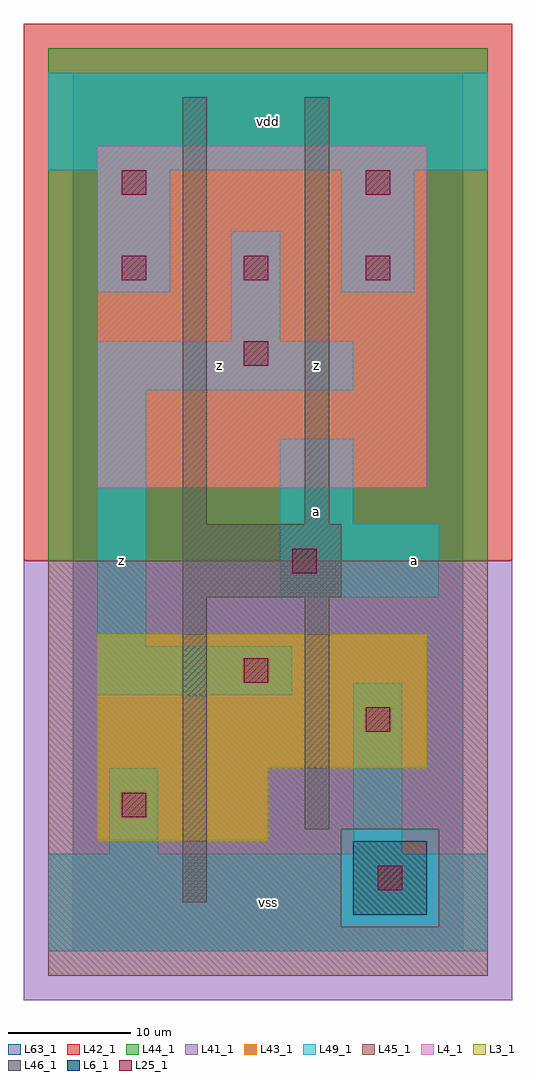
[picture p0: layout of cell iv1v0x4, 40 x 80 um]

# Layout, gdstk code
import gdstk
lib = gdstk.Library(unit=1e-6, precision=1e-09)
def R(c, l, rs):  # rectangles x0, y0, x1, y1
    for r in rs: c.add(gdstk.rectangle(r[:2], r[2:], *l))
def A(c, l, x, y, w, h, nx, ny, dx, dy):  # array of equal rectangles
    R(c, l, [(x+i*dx, y+j*dy, x+i*dx+w, y+j*dy+h) for i in range(nx) for j in range(ny)])
L3_1 = (3, 1)
L4_1 = (4, 1)
L6_1 = (6, 1)
L25_1 = (25, 1)
L41_1 = (41, 1)
L42_1 = (42, 1)
L43_1 = (43, 1)
L44_1 = (44, 1)
L45_1 = (45, 1)
L46_1 = (46, 1)
L49_1 = (49, 1)
L63_1 = (63, 1)

iv1v0x4 = lib.new_cell('iv1v0x4')
R(iv1v0x4, L3_1, [(2,9,16,15), (2,15,29,26)])
R(iv1v0x4, L4_1, [(2,38,29,66)])
R(iv1v0x4, L6_1, [(23,3,29,9), (23,3,29,9)])
A(iv1v0x4, L25_1, 4, 55, 2, 2, 3, 1, 10, 0)
R(iv1v0x4, L25_1, [(25,5,27,7), (4,11,6,13), (24,18,26,20), (14,22,16,24), (18,31,20,33), (14,48,16,50), (4,62,6,64), (24,62,26,64)])
R(iv1v0x4, L41_1, [(-4,-4,36,32)])
R(iv1v0x4, L42_1, [(-4,32,36,76)])
R(iv1v0x4, L43_1, [(23,3,29,9), (2,9,16,15), (2,15,29,26), (2,38,29,66)])
R(iv1v0x4, L44_1, [(22,2,30,10), (-2,32,34,74)])
R(iv1v0x4, L45_1, [(-2,-2,34,2), (-2,2,22,10), (30,2,34,10), (-2,10,34,32)])
R(iv1v0x4, L46_1, [(9,4,11,29), (19,10,21,29), (9,29,22,35), (9,35,11,70), (19,35,21,70)])
R(iv1v0x4, L49_1, [(-2,0,34,8), (3,8,7,15), (23,8,27,22), (2,21,18,25), (2,25,6,46), (17,29,30,35), (17,35,23,42), (2,46,23,50), (13,50,17,59), (2,54,8,64), (22,54,28,64), (-2,64,34,72)])
R(iv1v0x4, L63_1, [(0,0,32,72)])
iv1v0x4.add(gdstk.Label('z', (4,32), layer=49, texttype=1))
iv1v0x4.add(gdstk.Label('z', (12,48), layer=49, texttype=1))
iv1v0x4.add(gdstk.Label('vss', (16,4), layer=49, texttype=1))
iv1v0x4.add(gdstk.Label('a', (20,36), layer=49, texttype=1))
iv1v0x4.add(gdstk.Label('z', (20,48), layer=49, texttype=1))
iv1v0x4.add(gdstk.Label('vdd', (16,68), layer=49, texttype=1))
iv1v0x4.add(gdstk.Label('a', (28,32), layer=49, texttype=1))

lib.write_gds('iv1v0x4.gds')
